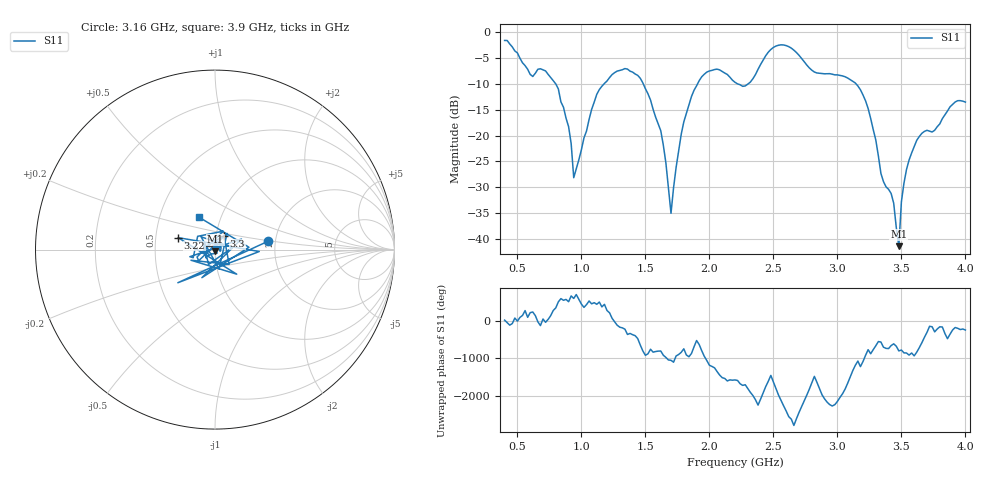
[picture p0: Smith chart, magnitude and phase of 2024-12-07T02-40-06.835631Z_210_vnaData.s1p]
!Created with skrf (http://scikit-rf.org).
# Hz S RI R 50.0
!freq ReS11 ImS11
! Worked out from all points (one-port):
!   181 points, 400 MHz to 4 GHz, reference 50 ohm
!   lowest |S11| = -41.4 dB at 3.48 GHz (marker M1), VSWR 1.02, Z = 50.1 - j0.842 ohm
!   |S11| at or under -10 dB: 799.3 MHz to 1.177 GHz (377.7 MHz wide, 38.2 % of centre); 1.483 GHz to 1.908 GHz (424.4 MHz wide, 25 % of centre); 3.146 GHz to end of sweep (the widest 3 of 4)
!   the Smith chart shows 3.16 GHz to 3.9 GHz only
!   S11 on the Smith chart (normalised r, x): 3.16 GHz: 1.84, +0.19; 3.22 GHz: 0.65, +0.09; 3.3 GHz: 1.09, +0.17; 3.9 GHz: 0.79, +0.30
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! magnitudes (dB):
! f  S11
! 400 MHz  -1.6
! 620 MHz  -8.6
! 720 MHz  -7.5
! 860 MHz  -14.5
! 920 MHz  -21.6
! 940 MHz  -28.2
! 1.12 GHz  -12.0
! 1.3 GHz  -7.4
! 1.54 GHz  -13.1
! 1.62 GHz  -19.1
! 1.7 GHz  -35.1
! 1.76 GHz  -23.0
! 1.94 GHz  -8.6
! 2.2 GHz  -9.7
! 2.32 GHz  -9.7
! 2.5 GHz  -3.0
! 2.66 GHz  -3.5
! 3.1 GHz  -9.2
! 3.16 GHz  -10.4
! 3.22 GHz  -13.3
! 3.3 GHz  -20.9
! 3.34 GHz  -27.3
! 3.44 GHz  -33.1
! 3.48 GHz  -41.4
! 3.5 GHz  -32.8
! 3.56 GHz  -24.7
! 3.9 GHz  -14.0
! 4 GHz  -13.5
